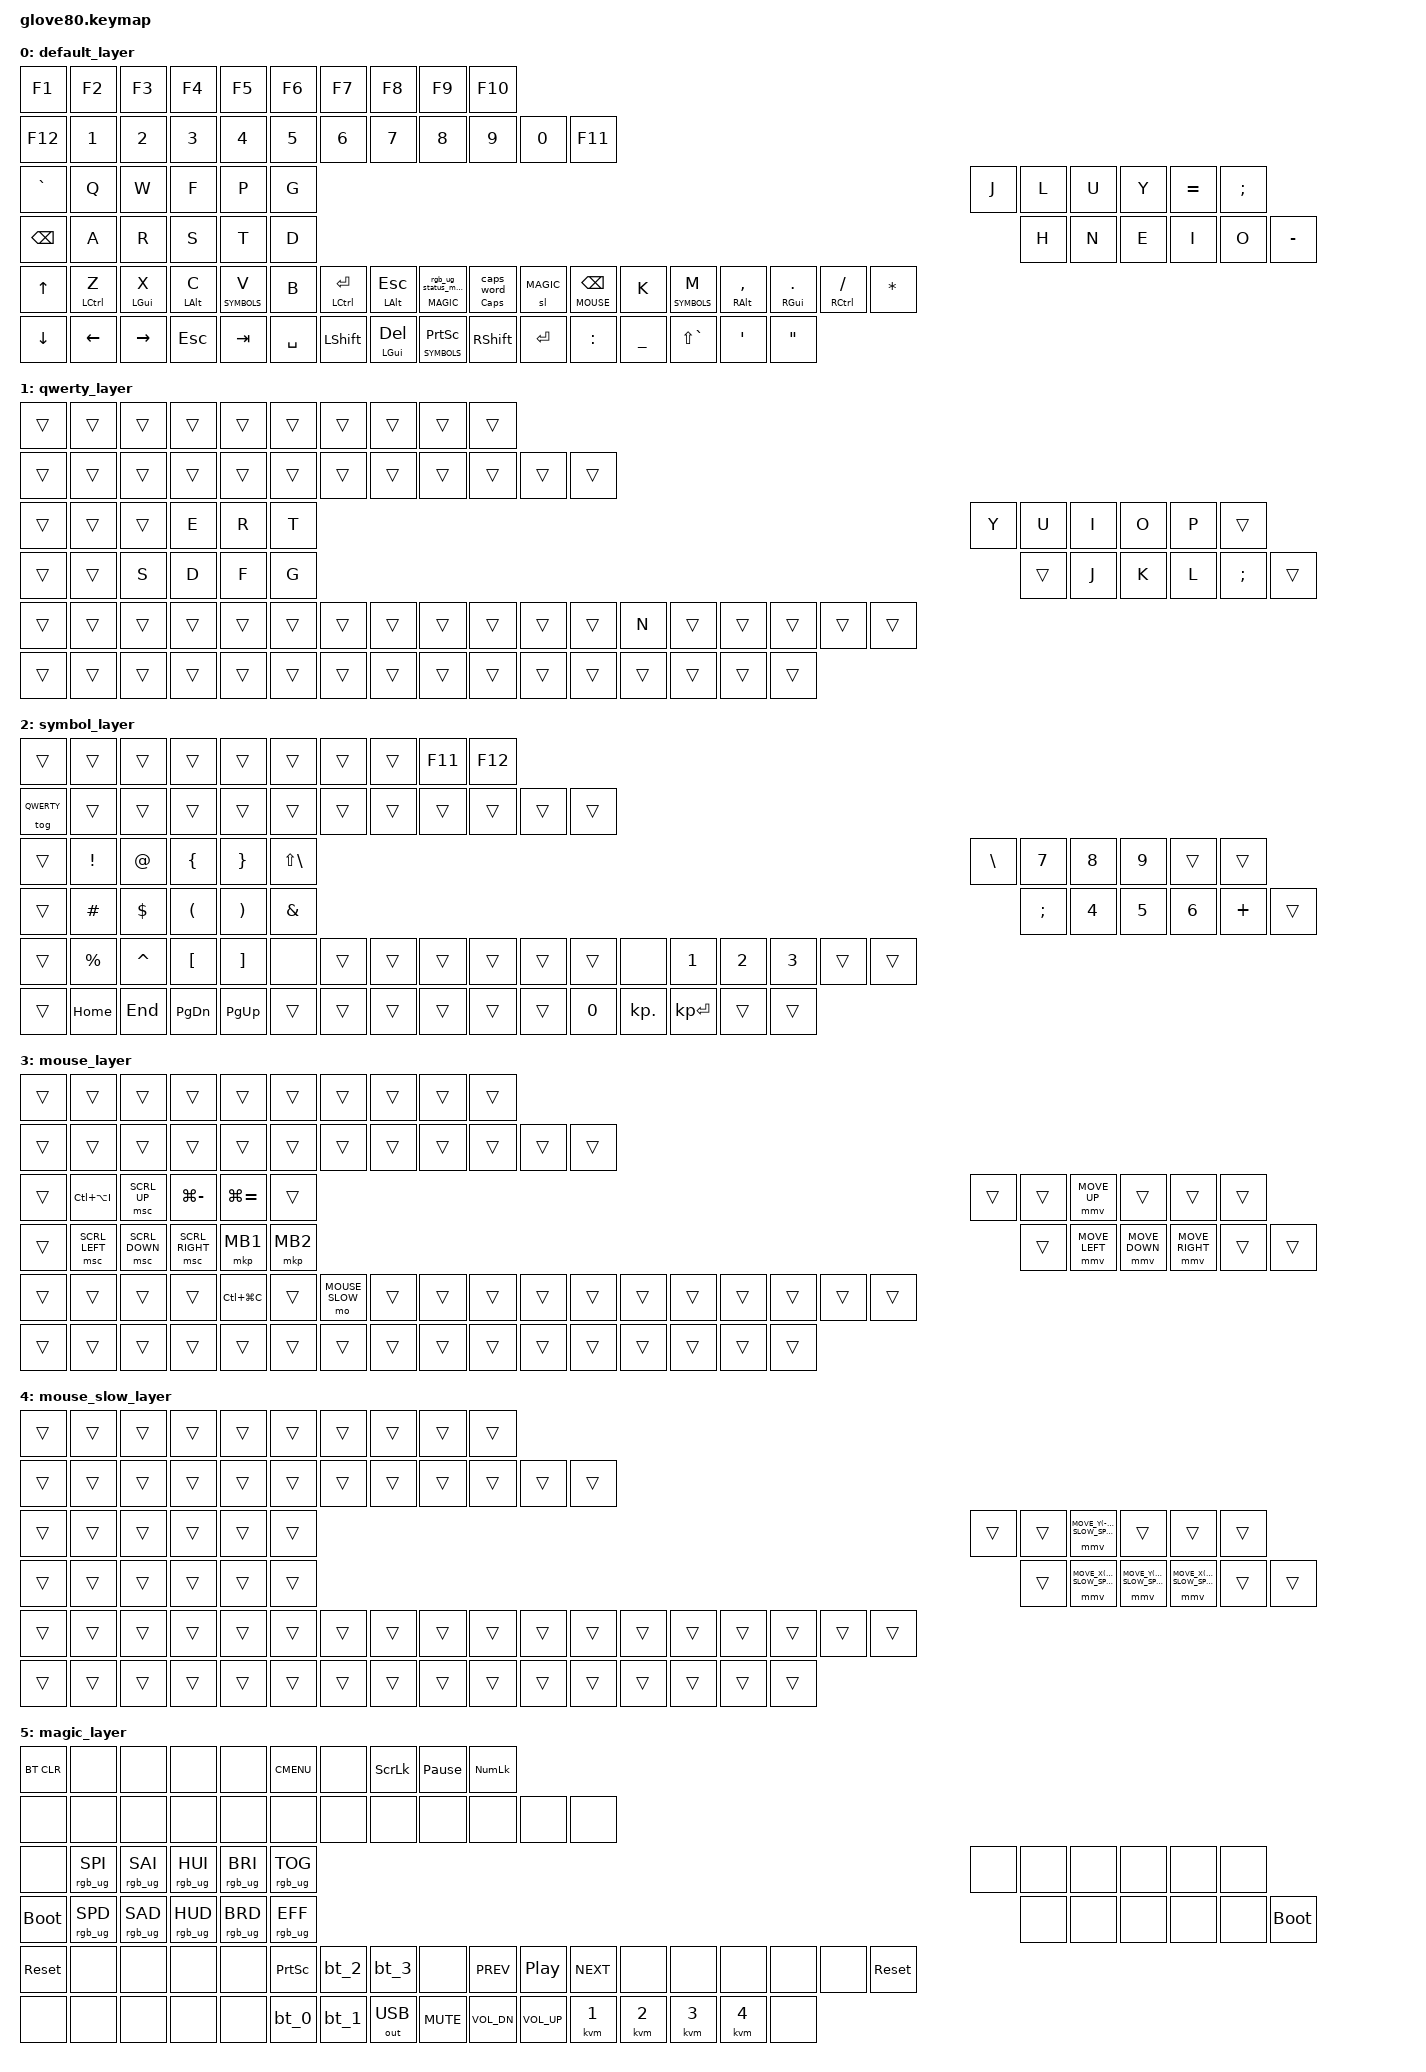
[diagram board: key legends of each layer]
/*
 * Copyright (c) 2020 The ZMK Contributors
 *
 * SPDX-License-Identifier: MIT
 */

#include <behaviors.dtsi>
#include <dt-bindings/zmk/keys.h>
#include <dt-bindings/zmk/bt.h>
#include <dt-bindings/zmk/ext_power.h>
#include <dt-bindings/zmk/outputs.h>
#include <dt-bindings/zmk/rgb.h>

#define ZMK_POINTING_DEFAULT_MOVE_VAL 1500  // default: 600
#define ZMK_POINTING_DEFAULT_SCRL_VAL 16    // default: 10
#include <dt-bindings/zmk/pointing.h>
#define POINTER_SLOW_SPEED 300


// layers
#define DEFAULT 0
#define QWERTY 1
#define SYMBOLS 2
#define MOUSE 3
#define MOUSE_SLOW 4
#define MAGIC 5

&mt {
    tapping-term-ms = <150>;
};

&lt {
    tapping-term-ms = <160>;
};

/ {
    macros {
        rgb_ug_status_macro: rgb_ug_status_macro {
            label = "RGB_UG_STATUS";
            compatible = "zmk,behavior-macro";
            #binding-cells = <0>;
            bindings
                = <&rgb_ug RGB_STATUS>;
        };
    };
};

/ {
    behaviors {
        magic: magic {
            compatible = "zmk,behavior-hold-tap";
            label = "MAGIC_HOLD_TAP";
            #binding-cells = <2>;
            flavor = "tap-preferred";
            tapping-term-ms = <200>;
            bindings = <&mo>, <&rgb_ug_status_macro>;
        };
    };
};

/ {
    behaviors {
        hrm:home_row_mod {
            compatible = "zmk,behavior-hold-tap";
            #binding-cells = <2>;
            flavor = "tap-preferred";
            tapping-term-ms = <175>;
            quick-tap-ms = <175>;
            require-prior-idle-ms = <150>;
            bindings = <&kp>, <&kp>;
        };
        hrl:home_row_layer {
            compatible = "zmk,behavior-hold-tap";
            #binding-cells = <2>;
            flavor = "balanced";
            tapping-term-ms = <175>;
            quick-tap-ms = <175>;
            require-prior-idle-ms = <100>;
            bindings = <&mo>, <&kp>;
        };
        mosl:momentary_layer_single_tap_layer {
            compatible = "zmk,behavior-hold-tap";
            #binding-cells = <2>;
            flavor = "hold-preferred";
            tapping-term-ms = <175>;
            bindings = <&mo>, <&sl>;
        };

        my_caps: my_caps_hold_tap {
            compatible = "zmk,behavior-hold-tap";
            #binding-cells = <2>;
            flavor = "tap-preferred";
            tapping-term-ms = <200>;
            require-prior-idle-ms = <150>;
            bindings = <&kp>, <&caps_word>;
        };

        #define HRMTAPPINGTERM 280
        #define HRMREQUIREPRIOIRIDLE 150
        #define HRMQUICKTAP 175
        hml: home_row_mod_left {
            compatible = "zmk,behavior-hold-tap";
            #binding-cells = <2>;
            flavor = "balanced";
            require-prior-idle-ms = <HRMREQUIREPRIOIRIDLE>;
            tapping-term-ms = <HRMTAPPINGTERM>;
            quick-tap-ms = <HRMQUICKTAP>;
            bindings = <&kp>, <&kp>;
            hold-trigger-key-positions = <5 6 7 8 9 16 17 18 19 20 21 28 29 30 31 32 33 40 41 42 43 44 45 58 59 60 61 62 63 75 76 77 78 79>;
            hold-trigger-on-release;
        };
        hmr: home_row_mod_right {
            compatible = "zmk,behavior-hold-tap";
            #binding-cells = <2>;
            flavor = "balanced";
            require-prior-idle-ms = <HRMREQUIREPRIOIRIDLE>;
            tapping-term-ms = <HRMTAPPINGTERM>;
            quick-tap-ms = <HRMQUICKTAP>;
            bindings = <&kp>, <&kp>;
            hold-trigger-key-positions = <0 1 2 3 4 10 11 12 13 14 15 22 23 24 25 26 27 34 35 36 37 38 39 46 47 48 49 50 51 64 65 66 67 68>;
            hold-trigger-on-release;
        };

        // For the "layer" key, it'd nice to be able to use it as either a shift or a toggle.
        // Configure it as a tap dance, so the first tap (or hold) is a &mo and the second tap is a &to
        //layer_td: tap_dance_0 {
        //    compatible = "zmk,behavior-tap-dance";
        //    #binding-cells = <0>;
        //    tapping-term-ms = <200>;
        //    bindings = <&mo LOWER>, <&to LOWER>;
        //};
    };

    combos {
        compatible = "zmk,combos";
        combo_alt_f4 {
            timeout-ms = <100>;
            key-positions = <13 14 23 24>;
            layers = <0 1>;
            bindings = <&kp LA(F4)>;
        };
    };

    macros {
        kvm: kvm_input {
            compatible = "zmk,behavior-macro-one-param";
            wait-ms = <30>;
            tap-ms = <40>;
            #binding-cells = <1>;
            bindings
                = <&kp SLCK>
                , <&kp SLCK>
                , <&macro_param_1to1>
                , <&kp MACRO_PLACEHOLDER>
                ;
        };

        bt_0: bt_profile_macro_0 {
            compatible = "zmk,behavior-macro";
            #binding-cells = <0>;
            bindings
                = <&out OUT_BLE>,
                  <&bt BT_SEL 0>;
        };

        bt_1: bt_profile_macro_1 {
            compatible = "zmk,behavior-macro";
            #binding-cells = <0>;
            bindings
                = <&out OUT_BLE>,
                  <&bt BT_SEL 1>;
        };

        bt_2: bt_profile_macro_2 {
            compatible = "zmk,behavior-macro";
            #binding-cells = <0>;
            bindings
                = <&out OUT_BLE>,
                  <&bt BT_SEL 2>;
        };

        bt_3: bt_profile_macro_3 {
            compatible = "zmk,behavior-macro";
            #binding-cells = <0>;
            bindings
                = <&out OUT_BLE>,
                  <&bt BT_SEL 3>;
        };
    };

    keymap {
        compatible = "zmk,keymap";

        default_layer {
            bindings = <
            &kp F1         &kp F2   &kp F3      &kp F4      &kp F5                                                                                         &kp F6  &kp F7      &kp F8      &kp F9      &kp F10
            &kp F12      &kp N1   &kp N2      &kp N3      &kp N4      &kp N5                                                                     &kp N6  &kp N7  &kp N8      &kp N9      &kp N0      &kp F11
            &kp GRAVE        &kp Q    &kp W       &kp F       &kp P       &kp G                                                                      &kp J   &kp L   &kp U       &kp Y       &kp EQUAL       &kp SEMI
            &kp BSPC        &kp A    &kp R       &kp S       &kp T       &kp D                                                                      &kp H   &kp N   &kp E       &kp I       &kp O    &kp MINUS
            &kp UP      &hrm LCTRL Z    &hrm LGUI X       &hrm LALT C       &hrl SYMBOLS V       &kp B   &mt LCTRL RETURN   &mt LALT ESC   &magic MAGIC 0  &my_caps CAPS 0  &sl MAGIC  &hrl MOUSE BSPC  &kp K   &hrl SYMBOLS M   &hrm RALT COMMA   &hrm RGUI DOT     &hrm RCTRL FSLH    &kp ASTERISK
            &kp DOWN      &kp LEFT &kp RIGHT     &kp ESC    &kp TAB           &kp SPACE    &kp LSHIFT     &mt LGUI DEL   &hrl SYMBOLS PRINTSCREEN  &kp RSHIFT   &kp RETURN           &kp COLON  &kp UNDERSCORE    &kp LS(GRAVE)    &kp SINGLE_QUOTE    &kp DOUBLE_QUOTES
            >;
        };

        qwerty_layer {
            bindings = <
            &trans &trans &trans &trans &trans &trans &trans &trans &trans &trans
            &trans &trans &trans &trans &trans &trans &trans &trans &trans &trans &trans &trans
            &trans &trans &trans &kp E       &kp R       &kp T                                                                      &kp Y   &kp U   &kp I       &kp O       &kp P    &trans
            &trans &trans &kp S       &kp D       &kp F       &kp G                                                                      &trans &kp J   &kp K       &kp L       &kp SEMI    &trans
            &trans &trans &trans &trans &trans &trans &trans &trans &trans &trans &trans &trans   &kp N   &trans &trans &trans &trans &trans
            &trans &trans &trans &trans &trans &trans &trans &trans &trans &trans &trans &trans &trans &trans &trans &trans
            >;
        };

        // symbols
        symbol_layer {
            bindings = <
            &trans &trans &trans &trans &trans                  &trans &trans &trans &kp F11 &kp F12 
            &tog QWERTY &trans &trans &trans &trans &trans &trans &trans &trans &trans &trans &trans 
            &trans &kp EXCL    &kp AT       &kp LBRC       &kp RBRC       &kp LS(BSLH)                                                                      &kp BSLH   &kp N7   &kp N8       &kp N9       &trans &trans 
            &trans &kp HASH    &kp DOLLAR       &kp LPAR       &kp RPAR       &kp AMPERSAND                                                                      &kp SEMICOLON   &kp N4   &kp N5       &kp N6       &kp PLUS    &trans 
            &trans &kp PERCENT    &kp CARET       &kp LBKT       &kp RBKT       &none   &trans &trans &trans &trans &trans &trans &none   &kp N1   &kp N2   &kp N3     &trans &trans 
            &trans &kp HOME    &kp END  &kp PG_DN &kp PG_UP           &trans &trans &trans &trans &trans &trans &kp N0 &kp KP_DOT &kp KP_ENTER &trans &trans
            >;
        };

        mouse_layer {
            bindings = <
            &trans &trans &trans &trans &trans &trans &trans &trans &trans &trans
            &trans &trans &trans &trans &trans &trans &trans &trans &trans &trans &trans &trans
            &trans &kp LC(LA(I)) &msc SCRL_UP &kp LG(MINUS)       &kp LG(EQUAL)       &trans                                                                      &trans   &trans   &mmv MOVE_UP       &trans       &trans    &trans
            &trans &msc SCRL_LEFT &msc SCRL_DOWN &msc SCRL_RIGHT       &mkp MB1       &mkp MB2                                                                      &trans &mmv MOVE_LEFT   &mmv MOVE_DOWN       &mmv MOVE_RIGHT       &trans    &trans
            &trans &trans &trans &trans &kp LC(LG(C)) &trans &mo MOUSE_SLOW &trans &trans &trans &trans &trans   &trans   &trans &trans &trans &trans &trans
            &trans &trans &trans &trans &trans &trans &trans &trans &trans &trans &trans &trans &trans &trans &trans &trans
            >;
        };

        mouse_slow_layer {
            bindings = <
            &trans &trans &trans &trans &trans &trans &trans &trans &trans &trans
            &trans &trans &trans &trans &trans &trans &trans &trans &trans &trans &trans &trans
            &trans &trans &trans &trans       &trans       &trans                                                                      &trans   &trans   &mmv MOVE_Y(-POINTER_SLOW_SPEED)       &trans       &trans    &trans
            &trans &trans &trans &trans       &trans       &trans                                                                      &trans &mmv MOVE_X(-POINTER_SLOW_SPEED)   &mmv MOVE_Y(POINTER_SLOW_SPEED)       &mmv MOVE_X(POINTER_SLOW_SPEED)       &trans    &trans
            &trans &trans &trans &trans &trans &trans &trans &trans &trans &trans &trans &trans   &trans   &trans &trans &trans &trans &trans
            &trans &trans &trans &trans &trans &trans &trans &trans &trans &trans &trans &trans &trans &trans &trans &trans
            >;
        };

        //lower_layer {
        //    bindings = <
        //    &kp C_BRI_DN      &kp C_BRI_UP        &kp C_PREV      &kp C_NEXT      &kp C_PP                                                                                                           &kp C_MUTE   &kp C_VOL_DN &kp C_VOL_UP  &none           &kp PAUSE_BREAK
        //    &trans            &none               &none           &none           &none           &kp HOME                                                                              &kp LPAR     &kp KP_NUM   &kp KP_EQUAL &kp KP_DIVIDE &kp KP_MULTIPLY &kp PSCRN
        //    &trans            &none               &none           &kp UP          &none           &kp END                                                                               &kp RPAR     &kp KP_N7    &kp KP_N8    &kp KP_N9     &kp KP_MINUS    &kp SLCK
        //    &trans            &none               &kp LEFT        &kp DOWN        &kp RIGHT       &kp PG_UP                                                                             &kp PRCNT    &kp KP_N4    &kp KP_N5    &kp KP_N6     &kp KP_PLUS     &none
        //    &trans            &kp K_CMENU         &none           &kp F11         &kp F12         &kp PG_DN       &trans      &trans      &trans &trans      &trans      &trans    &kp COMMA    &kp KP_N1    &kp KP_N2    &kp KP_N3     &kp KP_ENTER    &trans
        //    &trans            &kp CAPS            &kp INS         &kp F11         &kp F12                         &trans      &trans      &trans      &trans      &trans      &trans                 &kp KP_N0    &kp KP_N0    &kp KP_DOT    &kp KP_ENTER    &trans
        //    >;
        //};

        magic_layer {
            bindings = <
            &bt BT_CLR        &none               &none           &none           &none                                                                                                           &kp K_CMENU      &none      &kp SCROLLLOCK      &kp PAUSE_BREAK      &kp KP_NUMLOCK
            &none             &none               &none           &none           &none           &none                                                                                &none      &none      &none      &none      &none      &none
            &none             &rgb_ug RGB_SPI     &rgb_ug RGB_SAI &rgb_ug RGB_HUI &rgb_ug RGB_BRI &rgb_ug RGB_TOG                                                                      &none      &none      &none      &none      &none      &none
            &bootloader       &rgb_ug RGB_SPD     &rgb_ug RGB_SAD &rgb_ug RGB_HUD &rgb_ug RGB_BRD &rgb_ug RGB_EFF                                                                      &none      &none      &none      &none      &none      &bootloader
            &sys_reset        &none               &none           &none           &none           &kp  PSCRN           &bt_2     &bt_3     &none            &kp C_PREV     &kp C_PP     &kp C_NEXT       &none      &none      &none      &none      &none      &sys_reset
            &none             &none               &none           &none           &none                           &bt_0     &bt_1     &out OUT_USB     &kp C_MUTE     &kp C_VOL_DN     &kp C_VOL_UP                  &kvm N1      &kvm N2      &kvm N3      &kvm N4      &none
            >;
        };
    };
};
